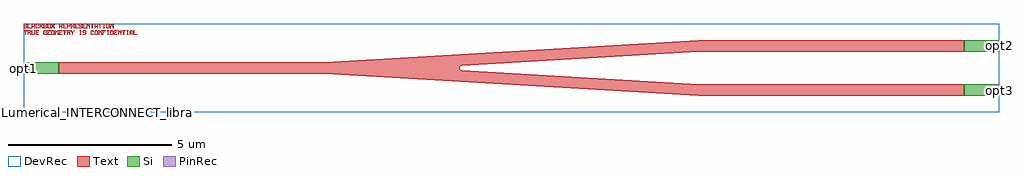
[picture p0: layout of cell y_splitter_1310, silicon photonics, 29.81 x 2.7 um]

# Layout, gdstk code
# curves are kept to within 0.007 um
import gdstk
lib = gdstk.Library(unit=1e-6, precision=1e-09)
def R(c, l, rs):  # rectangles x0, y0, x1, y1
    for r in rs: c.add(gdstk.rectangle(r[:2], r[2:], *l))
def P(c, l, *ps):  # polygons
    for p in ps: c.add(gdstk.Polygon(p, *l))
Si = (1, 0)
PinRec = (1, 10)
Text = (10, 0)
DevRec = (68, 0)

y_splitter_1310 = lib.new_cell('y_splitter_1310')
R(y_splitter_1310, Si, [(28.725,-0.85,29.791,-0.5), (0,-0.175,1.066,0.175), (28.725,0.5,29.791,0.85)])
P(y_splitter_1310, Text, [(20.593,-0.85),(9.178,-0.175),(1.066,-0.175),(1.066,0.175),(9.178,0.175),(20.593,0.85),(28.725,0.85),(28.725,0.5),(20.613,0.5),(13.365,0.071),(13.323,0.044),(13.308,-0.004),(13.328,-0.05),(13.372,-0.072),(20.613,-0.5),(28.725,-0.5),(28.725,-0.85)],
  [(0,1.21),(0,1.35),(0.08,1.35),(0.1,1.33),(0.02,1.33),(0.02,1.29),(0.07,1.29),(0.08,1.3),(0.08,1.32),(0.07,1.33),(0.1,1.33),(0.1,1.29),(0.09,1.28),(0.1,1.27),(0.02,1.27),(0.02,1.23),(0.07,1.23),(0.08,1.24),(0.08,1.26),(0.07,1.27),(0.1,1.27),(0.1,1.23),(0.08,1.21)],
  [(0.12,1.21),(0.12,1.35),(0.14,1.35),(0.14,1.23),(0.22,1.23),(0.22,1.21)],
  [(0.24,1.21),(0.24,1.32),(0.27,1.35),(0.31,1.35),(0.33,1.33),(0.28,1.33),(0.26,1.31),(0.26,1.28),(0.32,1.28),(0.32,1.31),(0.3,1.33),(0.33,1.33),(0.34,1.32),(0.34,1.21),(0.32,1.21),(0.32,1.26),(0.26,1.26),(0.26,1.21)],
  [(0.38,1.21),(0.36,1.23),(0.36,1.33),(0.38,1.35),(0.44,1.35),(0.46,1.33),(0.46,1.31),(0.44,1.31),(0.44,1.32),(0.43,1.33),(0.39,1.33),(0.38,1.32),(0.38,1.24),(0.39,1.23),(0.43,1.23),(0.44,1.24),(0.44,1.25),(0.46,1.25),(0.46,1.23),(0.44,1.21)],
  [(0.48,1.21),(0.48,1.35),(0.5,1.35),(0.5,1.29),(0.52,1.29),(0.56,1.33),(0.56,1.35),(0.58,1.35),(0.58,1.32),(0.54,1.28),(0.58,1.24),(0.58,1.21),(0.56,1.21),(0.56,1.23),(0.52,1.27),(0.5,1.27),(0.5,1.21)],
  [(0.6,1.21),(0.6,1.35),(0.68,1.35),(0.7,1.33),(0.62,1.33),(0.62,1.29),(0.67,1.29),(0.68,1.3),(0.68,1.32),(0.67,1.33),(0.7,1.33),(0.7,1.29),(0.69,1.28),(0.7,1.27),(0.62,1.27),(0.62,1.23),(0.67,1.23),(0.68,1.24),(0.68,1.26),(0.67,1.27),(0.7,1.27),(0.7,1.23),(0.68,1.21)],
  [(0.74,1.21),(0.72,1.23),(0.72,1.33),(0.74,1.35),(0.8,1.35),(0.82,1.33),(0.82,1.28),(0.8,1.28),(0.8,1.32),(0.79,1.33),(0.75,1.33),(0.74,1.32),(0.74,1.24),(0.75,1.23),(0.79,1.23),(0.8,1.24),(0.8,1.28),(0.82,1.28),(0.82,1.23),(0.8,1.21)],
  [(0.84,1.21),(0.84,1.24),(0.87,1.27),(0.87,1.29),(0.84,1.32),(0.84,1.35),(0.86,1.35),(0.86,1.33),(0.89,1.3),(0.92,1.33),(0.92,1.35),(0.94,1.35),(0.94,1.32),(0.91,1.29),(0.91,1.27),(0.94,1.24),(0.94,1.21),(0.92,1.21),(0.92,1.23),(0.89,1.26),(0.86,1.23),(0.86,1.21)],
  [(1.08,1.21),(1.08,1.35),(1.16,1.35),(1.18,1.33),(1.1,1.33),(1.1,1.29),(1.15,1.29),(1.16,1.3),(1.16,1.32),(1.15,1.33),(1.18,1.33),(1.18,1.29),(1.16,1.27),(1.16,1.26),(1.18,1.24),(1.18,1.21),(1.16,1.21),(1.16,1.23),(1.12,1.27),(1.1,1.27),(1.1,1.21)],
  [(1.2,1.21),(1.2,1.35),(1.3,1.35),(1.3,1.33),(1.22,1.33),(1.22,1.29),(1.26,1.29),(1.26,1.27),(1.22,1.27),(1.22,1.23),(1.3,1.23),(1.3,1.21)],
  [(1.32,1.21),(1.32,1.35),(1.4,1.35),(1.42,1.33),(1.42,1.29),(1.4,1.27),(1.34,1.27),(1.34,1.29),(1.39,1.29),(1.4,1.3),(1.4,1.32),(1.39,1.33),(1.34,1.33),(1.34,1.21)],
  [(1.44,1.21),(1.44,1.35),(1.52,1.35),(1.54,1.33),(1.46,1.33),(1.46,1.29),(1.51,1.29),(1.52,1.3),(1.52,1.32),(1.51,1.33),(1.54,1.33),(1.54,1.29),(1.52,1.27),(1.52,1.26),(1.54,1.24),(1.54,1.21),(1.52,1.21),(1.52,1.23),(1.48,1.27),(1.46,1.27),(1.46,1.21)],
  [(1.56,1.21),(1.56,1.35),(1.66,1.35),(1.66,1.33),(1.58,1.33),(1.58,1.29),(1.62,1.29),(1.62,1.27),(1.58,1.27),(1.58,1.23),(1.66,1.23),(1.66,1.21)],
  [(1.7,1.21),(1.68,1.23),(1.68,1.25),(1.7,1.25),(1.7,1.24),(1.71,1.23),(1.75,1.23),(1.76,1.24),(1.76,1.26),(1.75,1.27),(1.7,1.27),(1.68,1.29),(1.68,1.33),(1.7,1.35),(1.76,1.35),(1.78,1.33),(1.78,1.31),(1.76,1.31),(1.76,1.32),(1.75,1.33),(1.71,1.33),(1.7,1.32),(1.7,1.3),(1.71,1.29),(1.76,1.29),(1.78,1.27),(1.78,1.23),(1.76,1.21)],
  [(1.8,1.21),(1.8,1.35),(1.9,1.35),(1.9,1.33),(1.82,1.33),(1.82,1.29),(1.86,1.29),(1.86,1.27),(1.82,1.27),(1.82,1.23),(1.9,1.23),(1.9,1.21)],
  [(1.92,1.21),(1.92,1.35),(1.94,1.35),(1.99,1.3),(2,1.3),(2,1.35),(2.02,1.35),(2.02,1.21),(2,1.21),(2,1.26),(1.95,1.31),(1.94,1.31),(1.94,1.21)],
  [(2.08,1.21),(2.08,1.33),(2.04,1.33),(2.04,1.35),(2.14,1.35),(2.14,1.33),(2.1,1.33),(2.1,1.21)],
  [(2.16,1.21),(2.16,1.32),(2.19,1.35),(2.23,1.35),(2.25,1.33),(2.2,1.33),(2.18,1.31),(2.18,1.28),(2.24,1.28),(2.24,1.31),(2.22,1.33),(2.25,1.33),(2.26,1.32),(2.26,1.21),(2.24,1.21),(2.24,1.26),(2.18,1.26),(2.18,1.21)],
  [(2.32,1.21),(2.32,1.33),(2.28,1.33),(2.28,1.35),(2.38,1.35),(2.38,1.33),(2.34,1.33),(2.34,1.21)],
  [(2.43,1.21),(2.43,1.23),(2.44,1.23),(2.44,1.33),(2.43,1.33),(2.43,1.35),(2.47,1.35),(2.47,1.33),(2.46,1.33),(2.46,1.23),(2.47,1.23),(2.47,1.21)],
  [(2.54,1.21),(2.52,1.23),(2.52,1.33),(2.54,1.35),(2.6,1.35),(2.62,1.33),(2.62,1.28),(2.6,1.28),(2.6,1.32),(2.59,1.33),(2.55,1.33),(2.54,1.32),(2.54,1.24),(2.55,1.23),(2.59,1.23),(2.6,1.24),(2.6,1.28),(2.62,1.28),(2.62,1.23),(2.6,1.21)],
  [(2.64,1.21),(2.64,1.35),(2.66,1.35),(2.71,1.3),(2.72,1.3),(2.72,1.35),(2.74,1.35),(2.74,1.21),(2.72,1.21),(2.72,1.26),(2.67,1.31),(2.66,1.31),(2.66,1.21)],
  [(0.04,1.01),(0.04,1.13),(0,1.13),(0,1.15),(0.1,1.15),(0.1,1.13),(0.06,1.13),(0.06,1.01)],
  [(0.12,1.01),(0.12,1.15),(0.2,1.15),(0.22,1.13),(0.14,1.13),(0.14,1.09),(0.19,1.09),(0.2,1.1),(0.2,1.12),(0.19,1.13),(0.22,1.13),(0.22,1.09),(0.2,1.07),(0.2,1.06),(0.22,1.04),(0.22,1.01),(0.2,1.01),(0.2,1.03),(0.16,1.07),(0.14,1.07),(0.14,1.01)],
  [(0.26,1.01),(0.24,1.03),(0.24,1.15),(0.26,1.15),(0.26,1.04),(0.27,1.03),(0.31,1.03),(0.32,1.04),(0.32,1.15),(0.34,1.15),(0.34,1.03),(0.32,1.01)],
  [(0.36,1.01),(0.36,1.15),(0.46,1.15),(0.46,1.13),(0.38,1.13),(0.38,1.09),(0.42,1.09),(0.42,1.07),(0.38,1.07),(0.38,1.03),(0.46,1.03),(0.46,1.01)],
  [(0.62,1.01),(0.6,1.03),(0.6,1.13),(0.62,1.15),(0.68,1.15),(0.7,1.13),(0.7,1.11),(0.68,1.11),(0.68,1.12),(0.67,1.13),(0.63,1.13),(0.62,1.12),(0.62,1.04),(0.63,1.03),(0.67,1.03),(0.68,1.04),(0.68,1.07),(0.65,1.07),(0.65,1.09),(0.7,1.09),(0.7,1.03),(0.68,1.01)],
  [(0.72,1.01),(0.72,1.15),(0.82,1.15),(0.82,1.13),(0.74,1.13),(0.74,1.09),(0.78,1.09),(0.78,1.07),(0.74,1.07),(0.74,1.03),(0.82,1.03),(0.82,1.01)],
  [(0.86,1.01),(0.84,1.03),(0.84,1.13),(0.86,1.15),(0.92,1.15),(0.94,1.13),(0.94,1.08),(0.92,1.08),(0.92,1.12),(0.91,1.13),(0.87,1.13),(0.86,1.12),(0.86,1.04),(0.87,1.03),(0.91,1.03),(0.92,1.04),(0.92,1.08),(0.94,1.08),(0.94,1.03),(0.92,1.01)],
  [(0.96,1.01),(0.96,1.15),(0.98,1.15),(1,1.13),(1.02,1.13),(1.04,1.15),(1.06,1.15),(1.06,1.01),(1.04,1.01),(1.04,1.11),(1.03,1.11),(1.01,1.09),(0.99,1.11),(0.98,1.11),(0.98,1.01)],
  [(1.08,1.01),(1.08,1.15),(1.18,1.15),(1.18,1.13),(1.1,1.13),(1.1,1.09),(1.14,1.09),(1.14,1.07),(1.1,1.07),(1.1,1.03),(1.18,1.03),(1.18,1.01)],
  [(1.24,1.01),(1.24,1.13),(1.2,1.13),(1.2,1.15),(1.3,1.15),(1.3,1.13),(1.26,1.13),(1.26,1.01)],
  [(1.32,1.01),(1.32,1.15),(1.4,1.15),(1.42,1.13),(1.34,1.13),(1.34,1.09),(1.39,1.09),(1.4,1.1),(1.4,1.12),(1.39,1.13),(1.42,1.13),(1.42,1.09),(1.4,1.07),(1.4,1.06),(1.42,1.04),(1.42,1.01),(1.4,1.01),(1.4,1.03),(1.36,1.07),(1.34,1.07),(1.34,1.01)],
  [(1.48,1.01),(1.48,1.08),(1.44,1.12),(1.44,1.15),(1.46,1.15),(1.46,1.13),(1.49,1.1),(1.52,1.13),(1.52,1.15),(1.54,1.15),(1.54,1.12),(1.5,1.08),(1.5,1.01)],
  [(1.71,1.01),(1.71,1.03),(1.72,1.03),(1.72,1.13),(1.71,1.13),(1.71,1.15),(1.75,1.15),(1.75,1.13),(1.74,1.13),(1.74,1.03),(1.75,1.03),(1.75,1.01)],
  [(1.82,1.01),(1.8,1.03),(1.8,1.05),(1.82,1.05),(1.82,1.04),(1.83,1.03),(1.87,1.03),(1.88,1.04),(1.88,1.06),(1.87,1.07),(1.82,1.07),(1.8,1.09),(1.8,1.13),(1.82,1.15),(1.88,1.15),(1.9,1.13),(1.9,1.11),(1.88,1.11),(1.88,1.12),(1.87,1.13),(1.83,1.13),(1.82,1.12),(1.82,1.1),(1.83,1.09),(1.88,1.09),(1.9,1.07),(1.9,1.03),(1.88,1.01)],
  [(2.06,1.01),(2.04,1.03),(2.04,1.13),(2.06,1.15),(2.12,1.15),(2.14,1.13),(2.14,1.11),(2.12,1.11),(2.12,1.12),(2.11,1.13),(2.07,1.13),(2.06,1.12),(2.06,1.04),(2.07,1.03),(2.11,1.03),(2.12,1.04),(2.12,1.05),(2.14,1.05),(2.14,1.03),(2.12,1.01)],
  [(2.18,1.01),(2.16,1.03),(2.16,1.13),(2.18,1.15),(2.24,1.15),(2.26,1.13),(2.26,1.08),(2.24,1.08),(2.24,1.12),(2.23,1.13),(2.19,1.13),(2.18,1.12),(2.18,1.04),(2.19,1.03),(2.23,1.03),(2.24,1.04),(2.24,1.08),(2.26,1.08),(2.26,1.03),(2.24,1.01)],
  [(2.28,1.01),(2.28,1.15),(2.3,1.15),(2.35,1.1),(2.36,1.1),(2.36,1.15),(2.38,1.15),(2.38,1.01),(2.36,1.01),(2.36,1.06),(2.31,1.11),(2.3,1.11),(2.3,1.01)],
  [(2.4,1.01),(2.4,1.15),(2.5,1.15),(2.5,1.13),(2.42,1.13),(2.42,1.09),(2.46,1.09),(2.46,1.07),(2.42,1.07),(2.42,1.01)],
  [(2.55,1.01),(2.55,1.03),(2.56,1.03),(2.56,1.13),(2.55,1.13),(2.55,1.15),(2.59,1.15),(2.59,1.13),(2.58,1.13),(2.58,1.03),(2.59,1.03),(2.59,1.01)],
  [(2.64,1.01),(2.64,1.15),(2.71,1.15),(2.73,1.13),(2.66,1.13),(2.66,1.03),(2.7,1.03),(2.72,1.05),(2.72,1.11),(2.7,1.13),(2.73,1.13),(2.74,1.12),(2.74,1.04),(2.71,1.01)],
  [(2.76,1.01),(2.76,1.15),(2.86,1.15),(2.86,1.13),(2.78,1.13),(2.78,1.09),(2.82,1.09),(2.82,1.07),(2.78,1.07),(2.78,1.03),(2.86,1.03),(2.86,1.01)],
  [(2.88,1.01),(2.88,1.15),(2.9,1.15),(2.95,1.1),(2.96,1.1),(2.96,1.15),(2.98,1.15),(2.98,1.01),(2.96,1.01),(2.96,1.06),(2.91,1.11),(2.9,1.11),(2.9,1.01)],
  [(3.04,1.01),(3.04,1.13),(3,1.13),(3,1.15),(3.1,1.15),(3.1,1.13),(3.06,1.13),(3.06,1.01)],
  [(3.15,1.01),(3.15,1.03),(3.16,1.03),(3.16,1.13),(3.15,1.13),(3.15,1.15),(3.19,1.15),(3.19,1.13),(3.18,1.13),(3.18,1.03),(3.19,1.03),(3.19,1.01)],
  [(3.24,1.01),(3.24,1.12),(3.27,1.15),(3.31,1.15),(3.33,1.13),(3.28,1.13),(3.26,1.11),(3.26,1.08),(3.32,1.08),(3.32,1.11),(3.3,1.13),(3.33,1.13),(3.34,1.12),(3.34,1.01),(3.32,1.01),(3.32,1.06),(3.26,1.06),(3.26,1.01)],
  [(3.36,1.01),(3.36,1.15),(3.38,1.15),(3.38,1.03),(3.46,1.03),(3.46,1.01)])
R(y_splitter_1310, DevRec, [(0,-1.35,29.791,1.35)])
y_splitter_1310.add(gdstk.FlexPath([(0.01,0),(-0.01,0)], 0.35, ends="flush", simple_path=True, layer=1, datatype=10))  # PinRec
y_splitter_1310.add(gdstk.FlexPath([(29.781,0.675),(29.801,0.675)], 0.35, ends="flush", simple_path=True, layer=1, datatype=10))  # PinRec
y_splitter_1310.add(gdstk.FlexPath([(29.781,-0.675),(29.801,-0.675)], 0.35, ends="flush", simple_path=True, layer=1, datatype=10))  # PinRec
y_splitter_1310.add(gdstk.Label('Lumerical_INTERCONNECT_library=Design kits/SiEPICfab_Shuksan_PDK', (0,-1.35), layer=68, texttype=0))
y_splitter_1310.add(gdstk.Label('Component=y_splitter_1310', (0,-1.25), layer=68, texttype=0))
y_splitter_1310.add(gdstk.Label('opt1', (0,0), layer=1, texttype=10))
y_splitter_1310.add(gdstk.Label('opt2', (29.791,0.675), layer=1, texttype=10))
y_splitter_1310.add(gdstk.Label('opt3', (29.791,-0.675), layer=1, texttype=10))

lib.write_gds('y_splitter_1310.gds')
